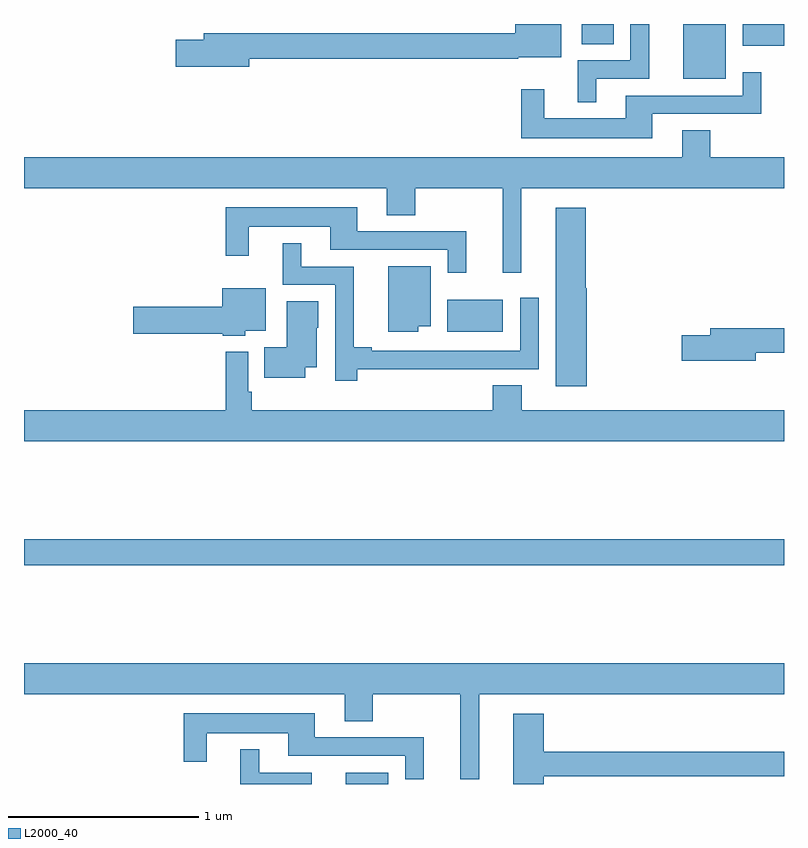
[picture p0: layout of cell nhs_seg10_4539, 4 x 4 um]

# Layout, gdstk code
import gdstk
lib = gdstk.Library(unit=1e-6, precision=1e-09)
def R(c, l, rs):  # rectangles x0, y0, x1, y1
    for r in rs: c.add(gdstk.rectangle(r[:2], r[2:], *l))
def P(c, l, *ps):  # polygons
    for p in ps: c.add(gdstk.Polygon(p, *l))
L2000_40 = (2000, 40)

nhs_seg10_4539 = lib.new_cell('nhs_seg10_4539')
R(nhs_seg10_4539, L2000_40, [(370.694,1310.5,370.918,1310.56), (369,1311.652,373,1311.788), (371.228,1312.88,371.521,1313.05), (372.47,1314.212,372.694,1314.5), (372.782,1314.386,373,1314.5), (371.936,1314.394,372.103,1314.5)])
P(nhs_seg10_4539, L2000_40, [(370.186,1314.316),(371.601,1314.316),(371.601,1314.326),(371.827,1314.326),(371.827,1314.5),(371.585,1314.5),(371.585,1314.452),(369.947,1314.452),(369.947,1314.416),(369.798,1314.416),(369.798,1314.274),(370.186,1314.274)],
  [(372.013,1314.213),(372.29,1314.213),(372.29,1314.5),(372.192,1314.5),(372.192,1314.309),(371.915,1314.309),(371.915,1314.089),(372.013,1314.089)],
  [(372.307,1314.027),(372.881,1314.027),(372.881,1314.247),(372.783,1314.247),(372.783,1314.123),(372.167,1314.123),(372.167,1314.004),(371.737,1314.004),(371.737,1314.157),(371.616,1314.157),(371.616,1313.9),(372.307,1313.9)],
  [(371.618,1313.636),(373,1313.636),(373,1313.8),(372.612,1313.8),(372.612,1313.942),(372.464,1313.942),(372.464,1313.8),(369,1313.8),(369,1313.636),(370.91,1313.636),(370.91,1313.494),(371.058,1313.494),(371.058,1313.636),(371.519,1313.636),(371.519,1313.19),(371.618,1313.19)],
  [(371.327,1313.409),(370.753,1313.409),(370.753,1313.536),(370.062,1313.536),(370.062,1313.28),(370.183,1313.28),(370.183,1313.432),(370.613,1313.432),(370.613,1313.313),(371.229,1313.313),(371.229,1313.19),(371.327,1313.19)],
  [(371.962,1313.109),(371.957,1313.109),(371.957,1313.533),(371.798,1313.533),(371.798,1312.593),(371.962,1312.593)],
  [(370.754,1312.682),(371.384,1312.682),(371.384,1312.683),(371.709,1312.683),(371.709,1313.059),(371.613,1313.059),(371.613,1312.779),(370.831,1312.779),(370.831,1312.799),(370.736,1312.799),(370.736,1313.223),(370.459,1313.223),(370.459,1313.347),(370.361,1313.347),(370.361,1313.127),(370.638,1313.127),(370.638,1312.623),(370.754,1312.623)],
  [(371.074,1312.91),(371.14,1312.91),(371.14,1313.224),(370.916,1313.224),(370.916,1312.88),(371.074,1312.88)],
  [(370.164,1312.886),(370.273,1312.886),(370.273,1313.11),(370.043,1313.11),(370.043,1313.012),(369.576,1313.012),(369.576,1312.87),(370.047,1312.87),(370.047,1312.859),(370.164,1312.859)],
  [(370.48,1312.694),(370.54,1312.694),(370.54,1312.902),(370.549,1312.902),(370.549,1313.042),(370.382,1313.042),(370.382,1312.798),(370.264,1312.798),(370.264,1312.637),(370.48,1312.637)],
  [(372.85,1312.77),(373,1312.77),(373,1312.898),(372.611,1312.898),(372.611,1312.862),(372.462,1312.862),(372.462,1312.727),(372.85,1312.727)],
  [(373,1312.468),(371.62,1312.468),(371.62,1312.598),(371.468,1312.598),(371.468,1312.468),(370.199,1312.468),(370.199,1312.564),(370.179,1312.564),(370.179,1312.774),(370.063,1312.774),(370.063,1312.468),(369,1312.468),(369,1312.304),(373,1312.304)],
  [(371.396,1310.972),(373,1310.972),(373,1311.136),(369,1311.136),(369,1310.972),(370.688,1310.972),(370.688,1310.83),(370.836,1310.83),(370.836,1310.972),(371.297,1310.972),(371.297,1310.526),(371.396,1310.526)],
  [(371.105,1310.745),(370.531,1310.745),(370.531,1310.872),(369.84,1310.872),(369.84,1310.616),(369.961,1310.616),(369.961,1310.768),(370.391,1310.768),(370.391,1310.649),(371.007,1310.649),(371.007,1310.526),(371.105,1310.526)],
  [(371.735,1310.542),(373,1310.542),(373,1310.671),(371.735,1310.671),(371.735,1310.869),(371.576,1310.869),(371.576,1310.5),(371.735,1310.5)],
  [(370.514,1310.559),(370.237,1310.559),(370.237,1310.683),(370.139,1310.683),(370.139,1310.5),(370.514,1310.5)])

lib.write_gds('nhs_seg10_4539.gds')
